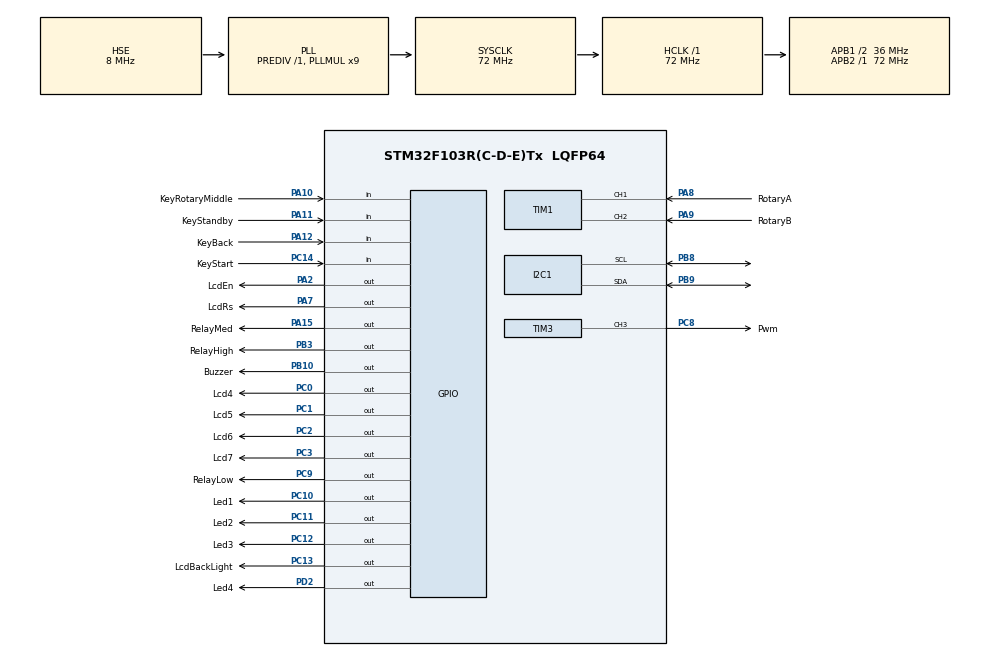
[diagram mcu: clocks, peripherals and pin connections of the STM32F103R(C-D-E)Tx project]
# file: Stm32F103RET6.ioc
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Mcu.Family=STM32F1
Mcu.Name=STM32F103R(C-D-E)Tx
Mcu.Package=LQFP64
NVIC.PriorityGroup=NVIC_PRIORITYGROUP_4
NVIC.TIM3_IRQn=true\:0\:0\:true\:false\:true\:true\:true\:true
NVIC.TIM7_IRQn=true\:0\:0\:true\:false\:true\:true\:true\:true
PA10.GPIO_Label=KeyRotaryMiddle
PA10.GPIO_PuPd=GPIO_PULLUP
PA10.Signal=GPIO_Input
PA11.GPIO_Label=KeyStandby
PA11.GPIO_PuPd=GPIO_PULLUP
PA11.Signal=GPIO_Input
PA12.GPIO_Label=KeyBack
PA12.GPIO_PuPd=GPIO_PULLUP
PA12.Signal=GPIO_Input
PA13.Mode=Serial_Wire
PA13.Signal=SYS_JTMS-SWDIO
PA14.Mode=Serial_Wire
PA14.Signal=SYS_JTCK-SWCLK
PA15.GPIO_Label=RelayMed
PA15.Signal=GPIO_Output
PA2.GPIO_Label=LcdEn
PA2.Signal=GPIO_Output
PA7.GPIO_Label=LcdRs
PA7.Signal=GPIO_Output
PA8.GPIO_Label=RotaryA
PA8.Signal=S_TIM1_CH1
PA9.GPIO_Label=RotaryB
PA9.Signal=S_TIM1_CH2
PB10.GPIO_Label=Buzzer
PB10.Signal=GPIO_Output
PB3.GPIO_Label=RelayHigh
PB3.Signal=GPIO_Output
PB8.Mode=I2C
PB8.Signal=I2C1_SCL
PB9.Mode=I2C
PB9.Signal=I2C1_SDA
PC0.GPIO_Label=Lcd4
PC0.Signal=GPIO_Output
PC1.GPIO_Label=Lcd5
PC1.Signal=GPIO_Output
PC10.GPIO_Label=Led1
PC10.GPIO_PuPd=GPIO_PULLDOWN
PC10.Signal=GPIO_Output
PC11.GPIO_Label=Led2
PC11.GPIO_PuPd=GPIO_PULLDOWN
PC11.Signal=GPIO_Output
PC12.GPIO_Label=Led3
PC12.GPIO_PuPd=GPIO_PULLDOWN
PC12.Signal=GPIO_Output
PC13-TAMPER-RTC.GPIO_Label=LcdBackLight
PC13-TAMPER-RTC.GPIO_PuPd=GPIO_PULLDOWN
PC13-TAMPER-RTC.Signal=GPIO_Output
PC14-OSC32_IN.GPIO_Label=KeyStart
PC14-OSC32_IN.GPIO_PuPd=GPIO_PULLUP
PC14-OSC32_IN.Signal=GPIO_Input
PC2.GPIO_Label=Lcd6
PC2.Signal=GPIO_Output
PC3.GPIO_Label=Lcd7
PC3.Signal=GPIO_Output
PC8.GPIO_Label=Pwm
PC8.Signal=S_TIM3_CH3
PC9.GPIO_Label=RelayLow
PC9.Signal=GPIO_Output
PD0-OSC_IN.Mode=HSE-External-Oscillator
PD0-OSC_IN.Signal=RCC_OSC_IN
PD1-OSC_OUT.Mode=HSE-External-Oscillator
PD1-OSC_OUT.Signal=RCC_OSC_OUT
PD2.GPIO_Label=Led4
PD2.GPIO_PuPd=GPIO_PULLDOWN
PD2.Signal=GPIO_Output
ProjectManager.HeapSize=0x200
ProjectManager.StackSize=0x400
ProjectManager.TargetToolchain=STM32CubeIDE
RCC.AHBFreq_Value=72000000
RCC.APB1CLKDivider=RCC_HCLK_DIV2
RCC.APB1Freq_Value=36000000
RCC.APB1TimFreq_Value=72000000
RCC.APB2Freq_Value=72000000
RCC.APB2TimFreq_Value=72000000
RCC.HCLKFreq_Value=72000000
RCC.PLLMUL=RCC_PLL_MUL9
RCC.PLLSourceVirtual=RCC_PLLSOURCE_HSE
RCC.SYSCLKFreq_VALUE=72000000
RCC.SYSCLKSource=RCC_SYSCLKSOURCE_PLLCLK
RCC.USBFreq_Value=72000000
SH.S_TIM1_CH1.0=TIM1_CH1,Encoder_Interface
SH.S_TIM1_CH2.0=TIM1_CH2,Encoder_Interface
SH.S_TIM3_CH3.0=TIM3_CH3,PWM Generation3 CH3
TIM1.EncoderMode=TIM_ENCODERMODE_TI12
TIM1.IC1Filter=5
TIM1.IC1Polarity=TIM_ICPOLARITY_FALLING
TIM1.IC2Filter=5
TIM1.IC2Polarity=TIM_ICPOLARITY_FALLING
TIM3.AutoReloadPreload=TIM_AUTORELOAD_PRELOAD_ENABLE
TIM3.Channel-PWM\ Generation3\ CH3=TIM_CHANNEL_3
TIM3.Period=1000-1
TIM3.Prescaler=700-1
TIM7.AutoReloadPreload=TIM_AUTORELOAD_PRELOAD_ENABLE
TIM7.Period=1000-1
TIM7.Prescaler=72-1
VP_TIM3_VS_ClockSourceINT.Mode=Internal
VP_TIM7_VS_ClockSourceINT.Mode=Enable_Timer
board=custom

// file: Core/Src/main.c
/* USER CODE BEGIN Header */
/**
  ******************************************************************************
  * @file           : main.c
  * @brief          : Main program body
  ******************************************************************************
  * @attention
  *
  * Copyright (c) 2024 STMicroelectronics.
  * All rights reserved.
  *
  * This software is licensed under terms that can be found in the LICENSE file
  * in the root directory of this software component.
  * If no LICENSE file comes with this software, it is provided AS-IS.
  *
  ******************************************************************************
  */
/* USER CODE END Header */
#include "main.h"

/* USER CODE BEGIN Includes */
#include "button.h"
#include "eeprom.h"
#include "menu.h"
/* USER CODE END Includes */

I2C_HandleTypeDef hi2c1;

TIM_HandleTypeDef htim1;
TIM_HandleTypeDef htim3;
TIM_HandleTypeDef htim7;

/* USER CODE BEGIN PV */

/* These variables for create delay with timer */
volatile bool
				flag1ms,
				flag10ms,
				flag100ms,
	            flag300ms,
	            flag1s,

				flcd10ms,
				flcd100ms,
				f2lcd100ms,
	            flcd300ms,
				flcd500ms,
	            flcd1s,

				flag1sDly,
				flagCapCh,
                flagRefreshValue500ms,
				flagRampStart,
				flagRythm,
				flagCountRamp,
				flagStopPwm,
				flagRotaryCW = false,
				flagRotaryCCW = false;

/* rotary  turn direction (CW/CCW) diagnose variables */
int32_t encoder_counter = 0;
int32_t last_count = 2000;
int32_t diff = 0;

/* Buttons read */
volatile uint8_t /* buttons_release, */ buttonMask;

/* holds the current keys state */
volatile char input;

volatile uint8_t nextState; // volatile for avoid of optimizing for debug program

/* Array to determine that the buzzer need to toggle.
 * this array consists of buzzer[0] = number of toggles
 *					  and buzzer[1] = delay between each toggle.
 * this array must be initialized when need to buzzer toggled.
 */
volatile uint8_t buzzer[2];

static inline void ToggleBuzzer(volatile uint8_t buzzer[2])
{
	static uint8_t number = 0;
	static uint8_t count10ms = 0;

	if (count10ms == 0) /* buzzer[BUZZ_DELAY]/10 = number of count10ms */
	{
		if (number < buzzer[BUZZ_NUM] * 2)	/* buzzer[BUZZ_NUM]*2 = number of (buzzer_off + buzzer_on) BUT
											   buzzer[BUZZ_NUM]	  = number of buzzer_on */
		{
			//BUZZ_TGL;
			HAL_GPIO_TogglePin(GPIOB, GPIO_PIN_10);
			number++;
			count10ms = (buzzer[BUZZ_DELAY] / 10);
		}
		else
		{
			HAL_GPIO_WritePin(GPIOB, GPIO_PIN_10, GPIO_PIN_RESET);
			number = 0;
			count10ms = 0;
			buzzer[BUZZ_NUM] = 0;
			buzzer[BUZZ_DELAY] = 0;
		}
	}

	if (buzzer[BUZZ_NUM])
	{
		count10ms--;
	}
}

MENU_STATE MenuState[7] = {
	//  STATE		  STATE TEXT    STATE_FUNC
	{ ST_STANDBY,     NULL,         StandBy },
	{ ST_MAIN_STATE,  NULL,         MainMenu },
	{ ST_INT_ADJUST,  NULL,         IntAdjust },
	{ ST_FLT_ADJUST,  NULL,         FloatAdjust },
	{ ST_STR_CHANGE,  NULL,         StringChange },
	{ ST_CONTACT_US,  NULL,         ContactUs },

	{ 0,              NULL,         NULL }
};
static uint32_t count = 0;
/* USER CODE END PV */

void SystemClock_Config(void);
static void MX_GPIO_Init(void);
static void MX_I2C1_Init(void);
static void MX_TIM1_Init(void);
static void MX_TIM3_Init(void);
static void MX_TIM7_Init(void);

int main(void)
{

  /* MCU Configuration--------------------------------------------------------*/

  /* Reset of all peripherals, Initializes the Flash interface and the Systick. */
  HAL_Init();

  /* Configure the system clock */
  SystemClock_Config();

  /* Initialize all configured peripherals */
  MX_GPIO_Init();
  MX_I2C1_Init();
  MX_TIM1_Init();
  MX_TIM3_Init();
  MX_TIM7_Init();
  /* USER CODE BEGIN 2 */
  /*first uncomment ValuInit_Write_EE() to write initial values,
  then comment it and upload the program again on the micro*/
  //InitValueWriteToEeprom();
  InitValueReadFromEeprom();

  /*start encoder timer 1 for reading rotary encoder */
  HAL_TIM_Encoder_Start(&htim1, TIM_CHANNEL_ALL);
  TIM1->CNT = 2000;

  /* create different flags base on 1ms timer 7 */
  //__HAL_TIM_ENABLE_IT(&htim7, TIM_IT_UPDATE );
  HAL_TIM_Base_Start_IT(&htim7);

  /* Create PWM and change Frequency and Duty Cycle */
  __HAL_TIM_ENABLE_IT(&htim3, TIM_IT_UPDATE );
  //HAL_TIM_Base_Start_IT(&htim3);

  uint8_t j;

  char (*pStateFunc)(char);

  /* Initial state variables */
  uint8_t state = ST_STANDBY;
  pStateFunc = StandBy;

  /* Lcd initial start */
  LcdInit();
  LcdClear();
  LcdDisplayOn();
  LcdBackLightSet();
  /* USER CODE END 2 */

  /* Infinite loop */
  /* USER CODE BEGIN WHILE */
  while (1)
  {
	  //HAL_GPIO_TogglePin(GPIOA,GPIO_PIN_15);
	  //HAL_Delay(1000);

	  /* Read rotary encoder and find the direction */
		encoder_counter = __HAL_TIM_GET_COUNTER(&htim1)/ROTARY_SPC;
		diff = encoder_counter - last_count;  // Calculate the difference between the current count and the last count

		if (diff != 0)
		{
			if (diff > 0)
			{
				flagRotaryCW = true; //Clockwise rotation
				flagRotaryCCW = false;
			}
			else if (diff < 0)
			{
				flagRotaryCW = false;
				flagRotaryCCW = true; //Counter-clockwise rotation
			}

			last_count = encoder_counter; //Update the last count
		}

		/* Every 10 mS check */
		if ( flag10ms == true )
		{
			Debounce();  // Update button_state.

			if (buzzer[BUZZ_NUM])
				ToggleBuzzer(buzzer);

			flag10ms = false;
		}

	  if (flag1s == true)
	  {
		  if (flagCapCh == true)
		  {
			  Count1sStart++;
			  if (Count1sStart == 2)
			  {
				  /*NumberOfRampPulse = Frequency*Ramp/1000;
				  StepRamp = TimeOn/NumberOfRampPulse;*/
				  //flagRampStart = true;

				  // Reset all variables
				  PeriodCount = 0;
				  PwmActive = true;
				  flagCapCh = false;
				  Count1sStart = 0;

				  // Reconfigure from scratch
				  SetFrequency(Frequency);
				  SetDutyCycle(TimeOn);
				  flagRythm = true;
//				  TIM3->CCER = TIM_CCER_CC1E; // Re-enable output
				  HAL_TIM_PWM_Start_IT(&htim3, PwmCh);

				  Led1(1);

			  }
		  }
		  if (flagRythm == true)
		  {
			  CountRunTime++;
			  if (CountRunTime >= RunTime)
			  {
				  // Stop sequence
				  flagRythm = false;
//				  TIM3->CR1 = 0; // Complete timer reset
//				  TIM3->CCER = 0; // Disable all captures/compares
//				  __HAL_TIM_CLEAR_FLAG(&htim3, TIM_FLAG_UPDATE);
//				  TIM3->SR = 0; // Clear all status flags
				  TIM3->CCR3 = 0;
				  TIM3->CNT = 0;
				  HAL_TIM_PWM_Stop_IT(&htim3, PwmCh);

				  // Reset states
				  CountRunTime = 0;
				  PeriodCount = 0;
				  PwmActive = true;
				  count = 0;

				  buzzer[BUZZ_NUM] = 20;
				  buzzer[BUZZ_DELAY] = 10;
				  Led1(0);
				  enterFunction = 1;
				  RealyLow(0);
				  RealyMed(0);
				  RealyHigh(0);
				  Led2(0);
				  Led3(0);
				  Led4(0);
			  }
		  }
		  flag1s = false;
	  }

		/* Read input and change states */
		buttonMask=KEY_MASK;
		buttonMask &= buttonRelease;
		buttonRelease ^= buttonMask;
		input = buttonMask | ((flagRotaryCCW*ROTARY_CCW_DIR)) | ((flagRotaryCW*ROTARY_CW_DIR)); // Read buttons
		flagRotaryCW = false;
		flagRotaryCCW = false;

	    /* Set buzzer to beep if one button is pressed */
		if (input)
		{
			buzzer[BUZZ_NUM] = 1;
			buzzer[BUZZ_DELAY] = 10;
		}

		//if (tapChangerState == 0 || errorVar != 0)
		//{
			/* When in this state, we must call the state function */
			nextState = pStateFunc(input);
			if(errorVar != 0)
				nextState = ST_ERRORS;
			if (nextState != state)
			{
				state = nextState;

				for (uint8_t n = 0; (j=MenuState[n].state); n++)
				{
					if (j == state)
					{
						pStateFunc = MenuState[n].pFunc;
						break;
					}
				}

			}
		//}
    /* USER CODE END WHILE */

  }
}

void SystemClock_Config(void)
{
  RCC_OscInitTypeDef RCC_OscInitStruct = {0};
  RCC_ClkInitTypeDef RCC_ClkInitStruct = {0};

  /** Initializes the RCC Oscillators according to the specified parameters
  * in the RCC_OscInitTypeDef structure.
  */
  RCC_OscInitStruct.OscillatorType = RCC_OSCILLATORTYPE_HSE;
  RCC_OscInitStruct.HSEState = RCC_HSE_ON;
  RCC_OscInitStruct.HSEPredivValue = RCC_HSE_PREDIV_DIV1;
  RCC_OscInitStruct.HSIState = RCC_HSI_ON;
  RCC_OscInitStruct.PLL.PLLState = RCC_PLL_ON;
  RCC_OscInitStruct.PLL.PLLSource = RCC_PLLSOURCE_HSE;
  RCC_OscInitStruct.PLL.PLLMUL = RCC_PLL_MUL9;
  if (HAL_RCC_OscConfig(&RCC_OscInitStruct) != HAL_OK)
  {
    Error_Handler();
  }

  /** Initializes the CPU, AHB and APB buses clocks
  */
  RCC_ClkInitStruct.ClockType = RCC_CLOCKTYPE_HCLK|RCC_CLOCKTYPE_SYSCLK
                              |RCC_CLOCKTYPE_PCLK1|RCC_CLOCKTYPE_PCLK2;
  RCC_ClkInitStruct.SYSCLKSource = RCC_SYSCLKSOURCE_PLLCLK;
  RCC_ClkInitStruct.AHBCLKDivider = RCC_SYSCLK_DIV1;
  RCC_ClkInitStruct.APB1CLKDivider = RCC_HCLK_DIV2;
  RCC_ClkInitStruct.APB2CLKDivider = RCC_HCLK_DIV1;

  if (HAL_RCC_ClockConfig(&RCC_ClkInitStruct, FLASH_LATENCY_2) != HAL_OK)
  {
    Error_Handler();
  }
}

static void MX_I2C1_Init(void)
{

  hi2c1.Instance = I2C1;
  hi2c1.Init.ClockSpeed = 100000;
  hi2c1.Init.DutyCycle = I2C_DUTYCYCLE_2;
  hi2c1.Init.OwnAddress1 = 0;
  hi2c1.Init.AddressingMode = I2C_ADDRESSINGMODE_7BIT;
  hi2c1.Init.DualAddressMode = I2C_DUALADDRESS_DISABLE;
  hi2c1.Init.OwnAddress2 = 0;
  hi2c1.Init.GeneralCallMode = I2C_GENERALCALL_DISABLE;
  hi2c1.Init.NoStretchMode = I2C_NOSTRETCH_DISABLE;
  if (HAL_I2C_Init(&hi2c1) != HAL_OK)
  {
    Error_Handler();
  }

}

static void MX_TIM1_Init(void)
{

  TIM_Encoder_InitTypeDef sConfig = {0};
  TIM_MasterConfigTypeDef sMasterConfig = {0};

  htim1.Instance = TIM1;
  htim1.Init.Prescaler = 0;
  htim1.Init.CounterMode = TIM_COUNTERMODE_UP;
  htim1.Init.Period = 65535;
  htim1.Init.ClockDivision = TIM_CLOCKDIVISION_DIV1;
  htim1.Init.RepetitionCounter = 0;
  htim1.Init.AutoReloadPreload = TIM_AUTORELOAD_PRELOAD_DISABLE;
  sConfig.EncoderMode = TIM_ENCODERMODE_TI12;
  sConfig.IC1Polarity = TIM_ICPOLARITY_FALLING;
  sConfig.IC1Selection = TIM_ICSELECTION_DIRECTTI;
  sConfig.IC1Prescaler = TIM_ICPSC_DIV1;
  sConfig.IC1Filter = 5;
  sConfig.IC2Polarity = TIM_ICPOLARITY_FALLING;
  sConfig.IC2Selection = TIM_ICSELECTION_DIRECTTI;
  sConfig.IC2Prescaler = TIM_ICPSC_DIV1;
  sConfig.IC2Filter = 5;
  if (HAL_TIM_Encoder_Init(&htim1, &sConfig) != HAL_OK)
  {
    Error_Handler();
  }
  sMasterConfig.MasterOutputTrigger = TIM_TRGO_RESET;
  sMasterConfig.MasterSlaveMode = TIM_MASTERSLAVEMODE_DISABLE;
  if (HAL_TIMEx_MasterConfigSynchronization(&htim1, &sMasterConfig) != HAL_OK)
  {
    Error_Handler();
  }

}

static void MX_TIM3_Init(void)
{

  TIM_ClockConfigTypeDef sClockSourceConfig = {0};
  TIM_MasterConfigTypeDef sMasterConfig = {0};
  TIM_OC_InitTypeDef sConfigOC = {0};

  htim3.Instance = TIM3;
  htim3.Init.Prescaler = 7200-1;
  htim3.Init.CounterMode = TIM_COUNTERMODE_UP;
  htim3.Init.Period = 1000-1;
  htim3.Init.ClockDivision = TIM_CLOCKDIVISION_DIV1;
  htim3.Init.AutoReloadPreload = TIM_AUTORELOAD_PRELOAD_ENABLE;
  if (HAL_TIM_Base_Init(&htim3) != HAL_OK)
  {
    Error_Handler();
  }
  sClockSourceConfig.ClockSource = TIM_CLOCKSOURCE_INTERNAL;
  if (HAL_TIM_ConfigClockSource(&htim3, &sClockSourceConfig) != HAL_OK)
  {
    Error_Handler();
  }
  if (HAL_TIM_PWM_Init(&htim3) != HAL_OK)
  {
    Error_Handler();
  }
  sMasterConfig.MasterOutputTrigger = TIM_TRGO_RESET;
  sMasterConfig.MasterSlaveMode = TIM_MASTERSLAVEMODE_DISABLE;
  if (HAL_TIMEx_MasterConfigSynchronization(&htim3, &sMasterConfig) != HAL_OK)
  {
    Error_Handler();
  }
  sConfigOC.OCMode = TIM_OCMODE_PWM1;
  sConfigOC.Pulse = 0;
  sConfigOC.OCPolarity = TIM_OCPOLARITY_HIGH;
  sConfigOC.OCFastMode = TIM_OCFAST_DISABLE;
  if (HAL_TIM_PWM_ConfigChannel(&htim3, &sConfigOC, TIM_CHANNEL_3) != HAL_OK)
  {
    Error_Handler();
  }
  HAL_TIM_MspPostInit(&htim3);

}

static void MX_TIM7_Init(void)
{

  TIM_MasterConfigTypeDef sMasterConfig = {0};

  htim7.Instance = TIM7;
  htim7.Init.Prescaler = 72-1;
  htim7.Init.CounterMode = TIM_COUNTERMODE_UP;
  htim7.Init.Period = 1000-1;
  htim7.Init.AutoReloadPreload = TIM_AUTORELOAD_PRELOAD_ENABLE;
  if (HAL_TIM_Base_Init(&htim7) != HAL_OK)
  {
    Error_Handler();
  }
  sMasterConfig.MasterOutputTrigger = TIM_TRGO_RESET;
  sMasterConfig.MasterSlaveMode = TIM_MASTERSLAVEMODE_DISABLE;
  if (HAL_TIMEx_MasterConfigSynchronization(&htim7, &sMasterConfig) != HAL_OK)
  {
    Error_Handler();
  }

}

static void MX_GPIO_Init(void)
{
  GPIO_InitTypeDef GPIO_InitStruct = {0};

  /* GPIO Ports Clock Enable */
  __HAL_RCC_GPIOC_CLK_ENABLE();
  __HAL_RCC_GPIOD_CLK_ENABLE();
  __HAL_RCC_GPIOA_CLK_ENABLE();
  __HAL_RCC_GPIOB_CLK_ENABLE();

  /*Configure GPIO pin Output Level */
  HAL_GPIO_WritePin(GPIOC, LcdBackLight_Pin|Lcd4_Pin|Lcd5_Pin|Lcd6_Pin
                          |Lcd7_Pin|RelayLow_Pin|Led1_Pin|Led2_Pin
                          |Led3_Pin, GPIO_PIN_RESET);

  /*Configure GPIO pin Output Level */
  HAL_GPIO_WritePin(GPIOA, LcdEn_Pin|LcdRs_Pin|RelayMed_Pin, GPIO_PIN_RESET);

  /*Configure GPIO pin Output Level */
  HAL_GPIO_WritePin(GPIOB, Buzzer_Pin|RelayHigh_Pin, GPIO_PIN_RESET);

  /*Configure GPIO pin Output Level */
  HAL_GPIO_WritePin(Led4_GPIO_Port, Led4_Pin, GPIO_PIN_RESET);

  /*Configure GPIO pins : LcdBackLight_Pin Led1_Pin Led2_Pin Led3_Pin */
  GPIO_InitStruct.Pin = LcdBackLight_Pin|Led1_Pin|Led2_Pin|Led3_Pin;
  GPIO_InitStruct.Mode = GPIO_MODE_OUTPUT_PP;
  GPIO_InitStruct.Pull = GPIO_PULLDOWN;
  GPIO_InitStruct.Speed = GPIO_SPEED_FREQ_LOW;
  HAL_GPIO_Init(GPIOC, &GPIO_InitStruct);

  /*Configure GPIO pin : KeyStart_Pin */
  GPIO_InitStruct.Pin = KeyStart_Pin;
  GPIO_InitStruct.Mode = GPIO_MODE_INPUT;
  GPIO_InitStruct.Pull = GPIO_PULLUP;
  HAL_GPIO_Init(KeyStart_GPIO_Port, &GPIO_InitStruct);

  /*Configure GPIO pins : Lcd4_Pin Lcd5_Pin Lcd6_Pin Lcd7_Pin
                           RelayLow_Pin */
  GPIO_InitStruct.Pin = Lcd4_Pin|Lcd5_Pin|Lcd6_Pin|Lcd7_Pin
                          |RelayLow_Pin;
  GPIO_InitStruct.Mode = GPIO_MODE_OUTPUT_PP;
  GPIO_InitStruct.Pull = GPIO_NOPULL;
  GPIO_InitStruct.Speed = GPIO_SPEED_FREQ_LOW;
  HAL_GPIO_Init(GPIOC, &GPIO_InitStruct);

  /*Configure GPIO pins : LcdEn_Pin LcdRs_Pin RelayMed_Pin */
  GPIO_InitStruct.Pin = LcdEn_Pin|LcdRs_Pin|RelayMed_Pin;
  GPIO_InitStruct.Mode = GPIO_MODE_OUTPUT_PP;
  GPIO_InitStruct.Pull = GPIO_NOPULL;
  GPIO_InitStruct.Speed = GPIO_SPEED_FREQ_LOW;
  HAL_GPIO_Init(GPIOA, &GPIO_InitStruct);

  /*Configure GPIO pins : Buzzer_Pin RelayHigh_Pin */
  GPIO_InitStruct.Pin = Buzzer_Pin|RelayHigh_Pin;
  GPIO_InitStruct.Mode = GPIO_MODE_OUTPUT_PP;
  GPIO_InitStruct.Pull = GPIO_NOPULL;
  GPIO_InitStruct.Speed = GPIO_SPEED_FREQ_LOW;
  HAL_GPIO_Init(GPIOB, &GPIO_InitStruct);

  /*Configure GPIO pins : KeyRotaryMiddle_Pin KeyStandby_Pin KeyBack_Pin */
  GPIO_InitStruct.Pin = KeyRotaryMiddle_Pin|KeyStandby_Pin|KeyBack_Pin;
  GPIO_InitStruct.Mode = GPIO_MODE_INPUT;
  GPIO_InitStruct.Pull = GPIO_PULLUP;
  HAL_GPIO_Init(GPIOA, &GPIO_InitStruct);

  /*Configure GPIO pin : Led4_Pin */
  GPIO_InitStruct.Pin = Led4_Pin;
  GPIO_InitStruct.Mode = GPIO_MODE_OUTPUT_PP;
  GPIO_InitStruct.Pull = GPIO_PULLDOWN;
  GPIO_InitStruct.Speed = GPIO_SPEED_FREQ_LOW;
  HAL_GPIO_Init(Led4_GPIO_Port, &GPIO_InitStruct);

}

/* USER CODE BEGIN 4 */
/**
  * @brief  Period elapsed callback in non blocking mode
  * @note   This function is called  when TIM6 interrupt took place, inside
  * HAL_TIM_IRQHandler(). It makes a direct call to HAL_IncTick() to increment
  * a global variable "uwTick" used as application time base.
  * @param  htim : TIM handle
  * @retval None
  */
void HAL_TIM_PeriodElapsedCallback(TIM_HandleTypeDef *htim)
{
  /* USER CODE BEGIN Callback 0 */

  /* USER CODE END Callback 0 */

  /* USER CODE BEGIN Callback 1 */

  /* create differents time for delay */
  if (htim->Instance == TIM7) {
	volatile static uint32_t count1ms = 0;
	count1ms++;
	flag1ms = true;

	if ( (count1ms % 10) == 0 )
	{
		//if ( (count1ms % 10) == 0 )
		//{
			flag10ms = true;
			flcd10ms = true;
		//}
		if ( (count1ms % 100) == 0 )
		{
			flag100ms = true;
			flcd100ms = true;
			f2lcd100ms = true;
		}
		/*if ( (count1ms % 300) == 0 )
		{
			flag300ms = true;
			flcd300ms = true;
		}*/
		if ( (count1ms % 500) == 0 )
		{
			//flagRefreshValue500ms = true;
			flcd500ms = true;

		}
		if ( (count1ms % 1000) == 0 )
		{
			//flagZeroDetectEr1s = true;
			flag1s = true;
			flcd1s = true;
			count1ms = 0;
		}
		/*if (count1ms == 10000)
		{
			//fErr2s = true;
			count1ms = 0;
		}*/
	}
  }
	if (htim->Instance == TIM3 && flagRythm == true)
	{
		count++;

		if (PwmActive == true)
		{
			PeriodCount++;
			if (PeriodCount >= RythmOn)
			{
				SetDutyCycle(0); // Turn off PWM
				PeriodCount = 0;
				PwmActive = false;
			}
		}
		else
		{
			PeriodCount++;
			if (PeriodCount >= RythmOff)
			{
				SetDutyCycle(TimeOn); // Turn on PWM
				PeriodCount = 0;
				PwmActive = true;
			}
		}
	}

 /* if (htim->Instance == TIM3)
  {
       //SetRamp(); //check for start/stop ramp

		if (flagRampStart == true)
		{
			CountRamp+=StepRamp;
			if (CountRamp > TimeOn)
			{
				CountRamp = TimeOn;
				flagRampStart = false;
				flagRythm = true;
				//SetDutyCycle( CountRamp );
			}
			//else
			    SetDutyCycle( CountRamp );
		}
		else if (flagStopPwm == true)
		{
			CountRamp-=StepRamp;
			if (CountRamp <= 0)
			{
				//CountRampPulse = 0;
				CountRamp = 0;
				//SetDutyCycle( CountRamp );
				HAL_TIM_PWM_Stop_IT(&htim3, PwmCh);
				flagStopPwm = false;
				buzzer[BUZZ_NUM] = 20;
				buzzer[BUZZ_DELAY] = 10;
				Led1(0);
				//enterFunction = 1;
			}
			//else
				SetDutyCycle( CountRamp );
		}
	  else if (RythmOff != 0 && flagRythm == true)
		{
			PeriodCount++;
			if (PwmActive == true && PeriodCount == RythmOn)
			{
				__HAL_TIM_SET_COMPARE(&htim3, PwmCh, 0);
				PeriodCount = 0;
				//SetDutyCycle( PeriodCount );
				PwmActive = false;

			}
			else if (PwmActive == false && PeriodCount == RythmOff)
			{
				//SetFrequency(Frequency); //VA_FREQUENCY
				SetDutyCycle(TimeOn); //VA_TIME
				PeriodCount = 0;
				PwmActive = true;
			}
		}
	}*/
  /* USER CODE END Callback 1 */
}
/* USER CODE END 4 */

void Error_Handler(void)
{
  __disable_irq();
  while (1)
  {
  }
}
